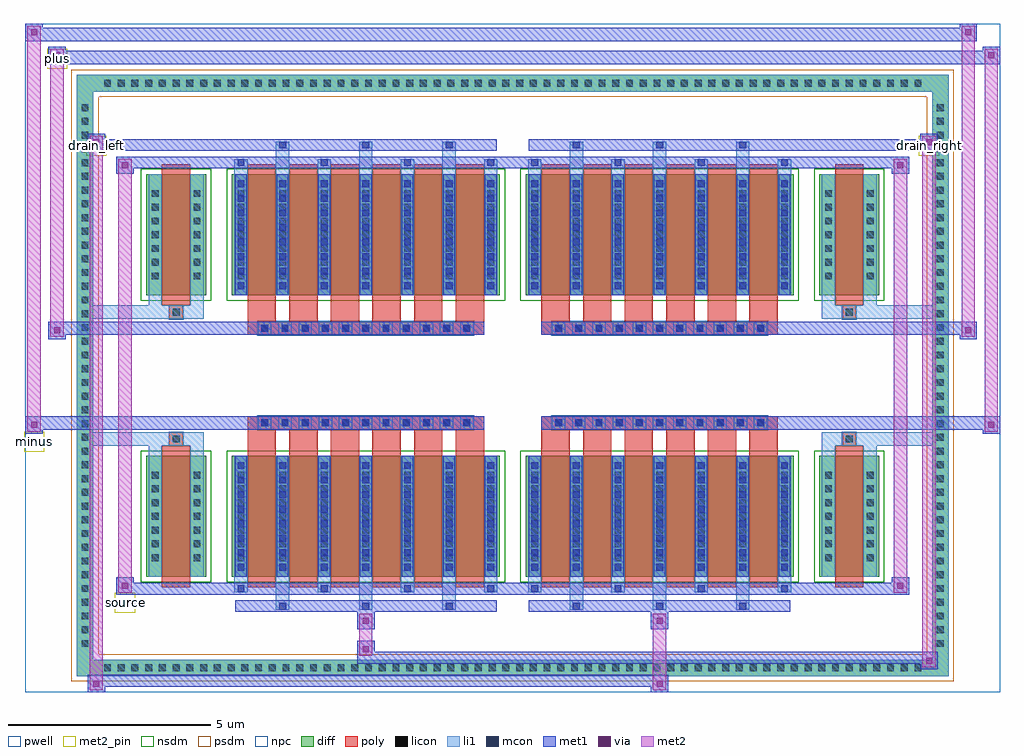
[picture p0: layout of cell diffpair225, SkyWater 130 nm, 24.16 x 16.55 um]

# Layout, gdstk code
import gdstk
lib = gdstk.Library(unit=1e-6, precision=5e-09)
def R(c, l, rs):  # rectangles x0, y0, x1, y1
    for r in rs: c.add(gdstk.rectangle(r[:2], r[2:], *l))
def A(c, l, x, y, w, h, nx, ny, dx, dy):  # array of equal rectangles
    R(c, l, [(x+i*dx, y+j*dy, x+i*dx+w, y+j*dy+h) for i in range(nx) for j in range(ny)])
def P(c, l, *ps):  # polygons
    for p in ps: c.add(gdstk.Polygon(p, *l))
pwell = (64, 44)
diff = (65, 20)
poly = (66, 20)
licon = (66, 44)
li1 = (67, 20)
mcon = (67, 44)
met1 = (68, 20)
via = (68, 44)
met2_pin = (69, 16)
met2 = (69, 20)
nsdm = (93, 44)
psdm = (94, 20)
npc = (95, 20)

diffpair225 = lib.new_cell('diffpair225')
R(diffpair225, pwell, [(-12.06,-7.84,12.06,8.71), (-9.38,-6.03,-0.01,-0.805), (0.01,-6.03,9.38,-0.805), (-9.38,0.805,-0.01,6.03), (0.01,0.805,9.38,6.03)])
A(diffpair225, diff, -10.235, -7.44, 0.41, 0.41, 60, 2, 0.34, 14.47)
A(diffpair225, diff, -10.79, -6.835, 0.41, 0.41, 1, 40, 0, 0.34)
A(diffpair225, diff, 10.38, -6.835, 0.41, 0.41, 1, 40, 0, 0.34)
R(diffpair225, diff, [(-10.235,-7.44,10.235,-7.03), (-10.79,-6.835,-10.38,6.835), (10.38,-6.835,10.79,6.835), (-9.07,-4.985,-7.59,-1.985), (-6.95,-4.985,-0.32,-1.985), (0.32,-4.985,6.95,-1.985), (7.59,-4.985,9.07,-1.985), (-9.07,1.985,-7.59,4.985), (-6.95,1.985,-0.32,4.985), (0.32,1.985,6.95,4.985), (7.59,1.985,9.07,4.985), (-10.235,7.03,10.235,7.44)])
P(diffpair225, diff, [(10.79,7.44),(-10.79,7.44),(-10.79,-7.03),(-10.38,-7.03),(-10.38,7.03),(10.38,7.03),(10.38,-7.03),(-10.38,-7.03),(-10.79,-7.03),(-10.79,-7.44),(10.79,-7.44)])
A(diffpair225, poly, -6.56, -5.235, 0.7, 3.5, 6, 2, 1.03, 6.97)
A(diffpair225, poly, 0.71, -5.235, 0.7, 3.5, 6, 2, 1.03, 6.97)
A(diffpair225, poly, -6.56, -1.735, 0.7, 0.4, 6, 2, 1.03, 3.07)
A(diffpair225, poly, 0.71, -1.735, 0.7, 0.4, 6, 2, 1.03, 3.07)
A(diffpair225, poly, -6.3, -1.335, 0.33, 0.33, 11, 2, 0.5, 2.34)
A(diffpair225, poly, 0.97, -1.335, 0.33, 0.33, 11, 2, 0.5, 2.34)
R(diffpair225, poly, [(-8.68,-5.235,-7.98,-1.735), (7.98,-5.235,8.68,-1.735), (-8.495,-1.735,-8.165,-1.405), (-8.495,-1.735,-8.165,-1.405), (8.165,-1.735,8.495,-1.405), (8.165,-1.735,8.495,-1.405), (-6.56,-1.335,-0.71,-1.005), (0.71,-1.335,6.56,-1.005), (-6.56,1.005,-0.71,1.335), (0.71,1.005,6.56,1.335), (-8.495,1.405,-8.165,1.735), (-8.495,1.405,-8.165,1.735), (8.165,1.405,8.495,1.735), (8.165,1.405,8.495,1.735), (-8.68,1.735,-7.98,5.235), (7.98,1.735,8.68,5.235)])
A(diffpair225, licon, -10.115, -7.32, 0.17, 0.17, 60, 2, 0.34, 14.47)
A(diffpair225, licon, -10.67, -6.715, 0.17, 0.17, 1, 40, 0, 0.34)
A(diffpair225, licon, 10.5, -6.715, 0.17, 0.17, 1, 40, 0, 0.34)
A(diffpair225, licon, -8.93, -4.59, 0.17, 0.17, 1, 7, 0, 0.34)
A(diffpair225, licon, -7.9, -4.59, 0.17, 0.17, 1, 7, 0, 0.34)
A(diffpair225, licon, -6.81, -4.59, 0.17, 0.17, 7, 7, 1.03, 0.34)
A(diffpair225, licon, 0.46, -4.59, 0.17, 0.17, 7, 7, 1.03, 0.34)
A(diffpair225, licon, 7.73, -4.59, 0.17, 0.17, 1, 7, 0, 0.34)
A(diffpair225, licon, 8.76, -4.59, 0.17, 0.17, 1, 7, 0, 0.34)
A(diffpair225, licon, -6.22, -1.255, 0.17, 0.17, 11, 2, 0.5, 2.34)
A(diffpair225, licon, 1.05, -1.255, 0.17, 0.17, 11, 2, 0.5, 2.34)
A(diffpair225, licon, -8.93, 2.38, 0.17, 0.17, 1, 7, 0, 0.34)
A(diffpair225, licon, -7.9, 2.38, 0.17, 0.17, 1, 7, 0, 0.34)
A(diffpair225, licon, -6.81, 2.38, 0.17, 0.17, 7, 7, 1.03, 0.34)
A(diffpair225, licon, 0.46, 2.38, 0.17, 0.17, 7, 7, 1.03, 0.34)
A(diffpair225, licon, 7.73, 2.38, 0.17, 0.17, 1, 7, 0, 0.34)
A(diffpair225, licon, 8.76, 2.38, 0.17, 0.17, 1, 7, 0, 0.34)
R(diffpair225, licon, [(-8.415,-1.655,-8.245,-1.485), (8.245,-1.655,8.415,-1.485), (-8.415,1.485,-8.245,1.655), (8.245,1.485,8.415,1.655)])
A(diffpair225, li1, -10.195, -7.4, 0.33, 0.33, 60, 2, 0.34, 14.47)
A(diffpair225, li1, -10.75, -6.795, 0.33, 0.33, 1, 40, 0, 0.34)
A(diffpair225, li1, 10.42, -6.795, 0.33, 0.33, 1, 40, 0, 0.34)
A(diffpair225, li1, -5.86, -5.79, 0.33, 0.805, 3, 2, 2.06, 10.775)
A(diffpair225, li1, -5.78, -5.79, 0.17, 0.17, 3, 2, 2.06, 11.41)
A(diffpair225, li1, 1.41, -5.79, 0.33, 0.805, 3, 2, 2.06, 10.775)
A(diffpair225, li1, 1.49, -5.79, 0.17, 0.17, 3, 2, 2.06, 11.41)
A(diffpair225, li1, -6.89, -5.36, 0.33, 0.375, 4, 2, 2.06, 10.345)
A(diffpair225, li1, -6.81, -5.36, 0.17, 0.17, 4, 2, 2.06, 10.55)
A(diffpair225, li1, 0.38, -5.36, 0.33, 0.375, 4, 2, 2.06, 10.345)
A(diffpair225, li1, 0.46, -5.36, 0.17, 0.17, 4, 2, 2.06, 10.55)
A(diffpair225, li1, -6.89, -4.985, 0.33, 3, 7, 2, 1.03, 6.97)
A(diffpair225, li1, 0.38, -4.985, 0.33, 3, 7, 2, 1.03, 6.97)
A(diffpair225, li1, -6.81, -4.83, 0.17, 0.17, 7, 8, 1.03, 0.36)
A(diffpair225, li1, -6.81, -4.83, 0.17, 2.69, 7, 2, 1.03, 6.97)
A(diffpair225, li1, 0.46, -4.83, 0.17, 0.17, 7, 8, 1.03, 0.36)
A(diffpair225, li1, 0.46, -4.83, 0.17, 2.69, 7, 2, 1.03, 6.97)
A(diffpair225, li1, -9.01, -4.67, 0.33, 0.33, 1, 7, 0, 0.34)
A(diffpair225, li1, -7.98, -4.67, 0.33, 0.33, 1, 7, 0, 0.34)
A(diffpair225, li1, -6.89, -4.67, 0.33, 0.33, 7, 7, 1.03, 0.34)
A(diffpair225, li1, 0.38, -4.67, 0.33, 0.33, 7, 7, 1.03, 0.34)
A(diffpair225, li1, 7.65, -4.67, 0.33, 0.33, 1, 7, 0, 0.34)
A(diffpair225, li1, 8.68, -4.67, 0.33, 0.33, 1, 7, 0, 0.34)
A(diffpair225, li1, -6.3, -1.335, 0.33, 0.33, 11, 2, 0.5, 2.34)
A(diffpair225, li1, 0.97, -1.335, 0.33, 0.33, 11, 2, 0.5, 2.34)
A(diffpair225, li1, -6.81, 2.14, 0.17, 0.17, 7, 8, 1.03, 0.36)
A(diffpair225, li1, 0.46, 2.14, 0.17, 0.17, 7, 8, 1.03, 0.36)
A(diffpair225, li1, -9.01, 2.3, 0.33, 0.33, 1, 7, 0, 0.34)
A(diffpair225, li1, -7.98, 2.3, 0.33, 0.33, 1, 7, 0, 0.34)
A(diffpair225, li1, -6.89, 2.3, 0.33, 0.33, 7, 7, 1.03, 0.34)
A(diffpair225, li1, 0.38, 2.3, 0.33, 0.33, 7, 7, 1.03, 0.34)
A(diffpair225, li1, 7.65, 2.3, 0.33, 0.33, 1, 7, 0, 0.34)
A(diffpair225, li1, 8.68, 2.3, 0.33, 0.33, 1, 7, 0, 0.34)
R(diffpair225, li1, [(-10.79,-7.44,-10.38,-7.03), (-10.79,-7.44,-10.38,-7.03), (-10.38,-7.44,10.38,-7.03), (10.38,-7.44,10.79,-7.03), (10.38,-7.44,10.79,-7.03), (-10.79,-7.03,-10.38,7.03), (10.38,-7.03,10.79,7.03), (-9.01,-4.985,-8.68,-1.985), (-7.98,-4.985,-7.65,-1.985), (7.65,-4.985,7.98,-1.985), (8.68,-4.985,9.01,-1.985), (-9.01,-1.985,-8.68,-1.405), (-7.98,-1.985,-7.65,-1.405), (7.65,-1.985,7.98,-1.405), (8.68,-1.985,9.01,-1.405), (-10.79,-1.735,-8.495,-1.405), (-9.01,-1.735,-8.495,-1.405), (-8.495,-1.735,-8.165,-1.405), (-8.165,-1.735,-7.65,-1.405), (7.65,-1.735,8.165,-1.405), (8.165,-1.735,8.495,-1.405), (8.165,-1.735,10.79,-1.405), (8.495,-1.735,9.01,-1.405), (-10.79,1.405,-8.495,1.735), (-9.01,1.405,-8.495,1.735), (-9.01,1.405,-8.68,1.985), (-8.495,1.405,-8.165,1.735), (-8.165,1.405,-7.65,1.735), (-7.98,1.405,-7.65,1.985), (7.65,1.405,8.165,1.735), (7.65,1.405,7.98,1.985), (8.165,1.405,8.495,1.735), (8.165,1.405,10.79,1.735), (8.495,1.405,9.01,1.735), (8.68,1.405,9.01,1.985), (-9.01,1.985,-8.68,4.985), (-7.98,1.985,-7.65,4.985), (7.65,1.985,7.98,4.985), (8.68,1.985,9.01,4.985), (-10.79,7.03,-10.38,7.44), (-10.79,7.03,-10.38,7.44), (-10.38,7.03,10.38,7.44), (10.38,7.03,10.79,7.44), (10.38,7.03,10.79,7.44)])
A(diffpair225, mcon, -5.78, -5.79, 0.17, 0.17, 3, 2, 2.06, 11.41)
A(diffpair225, mcon, 1.49, -5.79, 0.17, 0.17, 3, 2, 2.06, 11.41)
A(diffpair225, mcon, -6.81, -5.36, 0.17, 0.17, 4, 2, 2.06, 10.55)
A(diffpair225, mcon, 0.46, -5.36, 0.17, 0.17, 4, 2, 2.06, 10.55)
A(diffpair225, mcon, -6.81, -4.83, 0.17, 0.17, 7, 8, 1.03, 0.36)
A(diffpair225, mcon, 0.46, -4.83, 0.17, 0.17, 7, 8, 1.03, 0.36)
A(diffpair225, mcon, -6.22, -1.255, 0.17, 0.17, 11, 2, 0.5, 2.34)
A(diffpair225, mcon, 1.05, -1.255, 0.17, 0.17, 11, 2, 0.5, 2.34)
A(diffpair225, mcon, -6.81, 2.14, 0.17, 0.17, 7, 8, 1.03, 0.36)
A(diffpair225, mcon, 0.46, 2.14, 0.17, 0.17, 7, 8, 1.03, 0.36)
A(diffpair225, met1, -5.84, -5.85, 0.29, 0.29, 3, 2, 2.06, 11.41)
A(diffpair225, met1, 1.43, -5.85, 0.29, 0.29, 3, 2, 2.06, 11.41)
A(diffpair225, met1, -6.87, -5.42, 0.29, 0.29, 4, 2, 2.06, 10.55)
A(diffpair225, met1, 0.4, -5.42, 0.29, 0.29, 4, 2, 2.06, 10.55)
A(diffpair225, met1, -6.87, -4.985, 0.29, 3, 7, 2, 1.03, 6.97)
A(diffpair225, met1, 0.4, -4.985, 0.29, 3, 7, 2, 1.03, 6.97)
A(diffpair225, met1, -6.87, -4.89, 0.29, 0.29, 7, 8, 1.03, 0.36)
A(diffpair225, met1, 0.4, -4.89, 0.29, 0.29, 7, 8, 1.03, 0.36)
A(diffpair225, met1, -6.28, -1.315, 0.29, 0.29, 11, 2, 0.5, 2.34)
A(diffpair225, met1, 0.99, -1.315, 0.29, 0.29, 11, 2, 0.5, 2.34)
A(diffpair225, met1, -6.87, 2.08, 0.29, 0.29, 7, 8, 1.03, 0.36)
A(diffpair225, met1, 0.4, 2.08, 0.29, 0.29, 7, 8, 1.03, 0.36)
R(diffpair225, met1, [(-10.52,-7.84,-10.09,-7.41), (3.42,-7.84,3.85,-7.41), (-10.52,-7.7,3.85,-7.41), (10.09,-7.27,10.52,-6.84), (-3.85,-7.13,10.52,-6.84), (-3.85,-6.99,-3.42,-6.56), (-3.85,-6.28,-3.42,-5.85), (3.42,-6.28,3.85,-5.85), (-6.87,-5.85,-0.4,-5.56), (0.4,-5.85,6.87,-5.56), (-9.81,-5.42,-9.38,-4.99), (-9.81,-5.42,-6.87,-5.13), (-6.87,-5.42,-0.4,-5.13), (-0.4,-5.42,0.4,-5.13), (0.4,-5.42,6.87,-5.13), (6.87,-5.42,9.81,-5.13), (9.38,-5.42,9.81,-4.99), (-12.06,-1.435,-11.63,-1.005), (11.63,-1.435,12.06,-1.005), (-12.06,-1.335,-0.71,-1.005), (-6.56,-1.335,-0.71,-1.005), (0.71,-1.335,6.56,-1.005), (0.71,-1.335,12.06,-1.005), (-11.49,0.905,-11.06,1.335), (11.06,0.905,11.49,1.335), (-11.49,1.005,-6.56,1.335), (-6.56,1.005,-0.71,1.335), (0.71,1.005,6.56,1.335), (6.56,1.005,11.49,1.335), (-9.81,4.99,-9.38,5.42), (9.38,4.99,9.81,5.42), (-9.81,5.13,-6.87,5.42), (-6.87,5.13,-0.4,5.42), (-0.4,5.13,0.4,5.42), (0.4,5.13,6.87,5.42), (6.87,5.13,9.81,5.42), (-10.52,5.56,-10.09,5.99), (-10.52,5.56,-6.87,5.85), (-6.87,5.56,-0.4,5.85), (0.4,5.56,6.87,5.85), (6.87,5.56,10.52,5.85), (10.09,5.56,10.52,5.99), (-11.49,7.71,-11.06,8.14), (-11.49,7.71,-9.38,8.04), (-9.38,7.71,9.38,8.04), (9.38,7.71,12.06,8.04), (11.63,7.71,12.06,8.14), (-12.06,8.28,-11.63,8.71), (-12.06,8.28,-9.38,8.61), (-9.38,8.28,9.38,8.61), (9.38,8.28,11.49,8.61), (11.06,8.28,11.49,8.71)])
R(diffpair225, via, [(-10.38,-7.7,-10.23,-7.55), (3.56,-7.7,3.71,-7.55), (10.23,-7.13,10.38,-6.98), (-3.71,-6.85,-3.56,-6.7), (-3.71,-6.14,-3.56,-5.99), (3.56,-6.14,3.71,-5.99), (-9.67,-5.28,-9.52,-5.13), (9.52,-5.28,9.67,-5.13), (-11.92,-1.295,-11.77,-1.145), (11.77,-1.295,11.92,-1.145), (-11.35,1.045,-11.2,1.195), (11.2,1.045,11.35,1.195), (-9.67,5.13,-9.52,5.28), (9.52,5.13,9.67,5.28), (-10.38,5.7,-10.23,5.85), (10.23,5.7,10.38,5.85), (-11.35,7.85,-11.2,8), (11.77,7.85,11.92,8), (-11.92,8.42,-11.77,8.57), (11.2,8.42,11.35,8.57)])
R(diffpair225, met2_pin, [(-9.845,-5.87,-9.345,-5.37), (-12.095,-1.885,-11.595,-1.385), (-10.555,5.44,-10.055,5.94), (10.055,5.44,10.555,5.94), (-11.525,7.59,-11.025,8.09)])
R(diffpair225, met2, [(-10.47,-7.79,-10.14,-7.46), (-10.47,-7.79,-10.14,5.94), (3.47,-7.79,3.8,-7.46), (3.47,-7.46,3.8,-6.23), (10.14,-7.22,10.47,-6.89), (10.14,-7.22,10.47,5.94), (-3.8,-6.94,-3.47,-6.61), (-3.8,-6.61,-3.47,-6.23), (-3.8,-6.23,-3.47,-5.9), (3.47,-6.23,3.8,-5.9), (-9.76,-5.37,-9.43,-5.04), (-9.76,-5.37,-9.43,5.37), (9.43,-5.37,9.76,-5.04), (9.43,-5.37,9.76,5.37), (-12.01,-1.385,-11.68,-1.055), (-12.01,-1.385,-11.68,8.66), (11.68,-1.385,12.01,-1.055), (11.68,-1.385,12.01,8.09), (-11.44,0.955,-11.11,1.285), (-11.44,0.955,-11.11,8.09), (11.11,0.955,11.44,1.285), (11.11,0.955,11.44,8.66), (-9.76,5.04,-9.43,5.37), (9.43,5.04,9.76,5.37), (-10.47,5.61,-10.14,5.94), (10.14,5.61,10.47,5.94), (-11.44,7.76,-11.11,8.09), (11.68,7.76,12.01,8.09), (-12.01,8.33,-11.68,8.66), (11.11,8.33,11.44,8.66)])
P(diffpair225, met2, [(12.01,-1.385),(12.01,-1.385),(12.01,-1.055),(12.01,-1.055)],
  [(12.01,7.76),(12.01,7.76),(12.01,8.09),(12.01,8.09)],
  [(-11.68,-1.385),(-11.68,-1.385),(-11.68,-1.055),(-11.68,-1.055)],
  [(-11.68,8.33),(-11.68,8.33),(-11.68,8.66),(-11.68,8.66)],
  [(11.44,0.955),(11.44,0.955),(11.44,1.285),(11.44,1.285)],
  [(11.44,8.33),(11.44,8.33),(11.44,8.66),(11.44,8.66)],
  [(-11.11,0.955),(-11.11,0.955),(-11.11,1.285),(-11.11,1.285)],
  [(-11.11,7.76),(-11.11,7.76),(-11.11,8.09),(-11.11,8.09)],
  [(-10.14,-7.79),(-10.14,-7.79),(-10.14,-7.46),(-10.14,-7.46)],
  [(-10.14,5.61),(-10.14,5.61),(-10.14,5.94),(-10.14,5.94)],
  [(10.47,-7.22),(10.47,-7.22),(10.47,-6.89),(10.47,-6.89)],
  [(10.47,5.61),(10.47,5.61),(10.47,5.94),(10.47,5.94)],
  [(-9.43,-5.37),(-9.43,-5.37),(-9.43,-5.04),(-9.43,-5.04)],
  [(-9.43,5.04),(-9.43,5.04),(-9.43,5.37),(-9.43,5.37)],
  [(9.76,-5.37),(9.76,-5.37),(9.76,-5.04),(9.76,-5.04)],
  [(9.76,5.04),(9.76,5.04),(9.76,5.37),(9.76,5.37)])
R(diffpair225, nsdm, [(-9.2,-5.115,-7.46,-1.855), (-7.08,-5.115,-0.19,-1.855), (0.19,-5.115,7.08,-1.855), (7.46,-5.115,9.2,-1.855), (-9.2,1.855,-7.46,5.115), (-7.08,1.855,-0.19,5.115), (0.19,1.855,7.08,5.115), (7.46,1.855,9.2,5.115)])
P(diffpair225, psdm, [(10.92,7.57),(-10.92,7.57),(-10.92,-6.9),(-10.25,-6.9),(-10.25,6.9),(10.25,6.9),(10.25,-6.9),(-10.25,-6.9),(-10.92,-6.9),(-10.92,-7.57),(10.92,-7.57)])
A(diffpair225, npc, -6.32, -1.355, 0.37, 0.37, 11, 2, 0.5, 2.34)
A(diffpair225, npc, 0.95, -1.355, 0.37, 0.37, 11, 2, 0.5, 2.34)
R(diffpair225, npc, [(-8.515,-1.755,-8.145,-1.385), (8.145,-1.755,8.515,-1.385), (-6.32,-1.355,-5.45,-0.985), (-6.32,-1.355,-5.45,-0.985), (-5.82,-1.355,-4.95,-0.985), (-5.82,-1.355,-4.95,-0.985), (-5.32,-1.355,-4.45,-0.985), (-5.32,-1.355,-4.45,-0.985), (-4.82,-1.355,-3.95,-0.985), (-4.82,-1.355,-3.95,-0.985), (-4.32,-1.355,-3.45,-0.985), (-4.32,-1.355,-3.45,-0.985), (-3.82,-1.355,-2.95,-0.985), (-3.82,-1.355,-2.95,-0.985), (-3.32,-1.355,-2.45,-0.985), (-3.32,-1.355,-2.45,-0.985), (-2.82,-1.355,-1.95,-0.985), (-2.82,-1.355,-1.95,-0.985), (-2.32,-1.355,-1.45,-0.985), (-2.32,-1.355,-1.45,-0.985), (-1.82,-1.355,-0.95,-0.985), (-1.82,-1.355,-0.95,-0.985), (0.95,-1.355,1.82,-0.985), (0.95,-1.355,1.82,-0.985), (1.45,-1.355,2.32,-0.985), (1.45,-1.355,2.32,-0.985), (1.95,-1.355,2.82,-0.985), (1.95,-1.355,2.82,-0.985), (2.45,-1.355,3.32,-0.985), (2.45,-1.355,3.32,-0.985), (2.95,-1.355,3.82,-0.985), (2.95,-1.355,3.82,-0.985), (3.45,-1.355,4.32,-0.985), (3.45,-1.355,4.32,-0.985), (3.95,-1.355,4.82,-0.985), (3.95,-1.355,4.82,-0.985), (4.45,-1.355,5.32,-0.985), (4.45,-1.355,5.32,-0.985), (4.95,-1.355,5.82,-0.985), (4.95,-1.355,5.82,-0.985), (5.45,-1.355,6.32,-0.985), (5.45,-1.355,6.32,-0.985), (-6.32,0.985,-5.45,1.355), (-6.32,0.985,-5.45,1.355), (-5.82,0.985,-4.95,1.355), (-5.82,0.985,-4.95,1.355), (-5.32,0.985,-4.45,1.355), (-5.32,0.985,-4.45,1.355), (-4.82,0.985,-3.95,1.355), (-4.82,0.985,-3.95,1.355), (-4.32,0.985,-3.45,1.355), (-4.32,0.985,-3.45,1.355), (-3.82,0.985,-2.95,1.355), (-3.82,0.985,-2.95,1.355), (-3.32,0.985,-2.45,1.355), (-3.32,0.985,-2.45,1.355), (-2.82,0.985,-1.95,1.355), (-2.82,0.985,-1.95,1.355), (-2.32,0.985,-1.45,1.355), (-2.32,0.985,-1.45,1.355), (-1.82,0.985,-0.95,1.355), (-1.82,0.985,-0.95,1.355), (0.95,0.985,1.82,1.355), (0.95,0.985,1.82,1.355), (1.45,0.985,2.32,1.355), (1.45,0.985,2.32,1.355), (1.95,0.985,2.82,1.355), (1.95,0.985,2.82,1.355), (2.45,0.985,3.32,1.355), (2.45,0.985,3.32,1.355), (2.95,0.985,3.82,1.355), (2.95,0.985,3.82,1.355), (3.45,0.985,4.32,1.355), (3.45,0.985,4.32,1.355), (3.95,0.985,4.82,1.355), (3.95,0.985,4.82,1.355), (4.45,0.985,5.32,1.355), (4.45,0.985,5.32,1.355), (4.95,0.985,5.82,1.355), (4.95,0.985,5.82,1.355), (5.45,0.985,6.32,1.355), (5.45,0.985,6.32,1.355), (-8.515,1.385,-8.145,1.755), (8.145,1.385,8.515,1.755)])
diffpair225.add(gdstk.Label('minus', (-11.845,-1.635), layer=69, texttype=5))
diffpair225.add(gdstk.Label('drain_right', (10.305,5.69), layer=69, texttype=5))
diffpair225.add(gdstk.Label('drain_left', (-10.305,5.69), layer=69, texttype=5))
diffpair225.add(gdstk.Label('source', (-9.595,-5.62), layer=69, texttype=5))
diffpair225.add(gdstk.Label('plus', (-11.275,7.84), layer=69, texttype=5))

lib.write_gds('diffpair225.gds')
